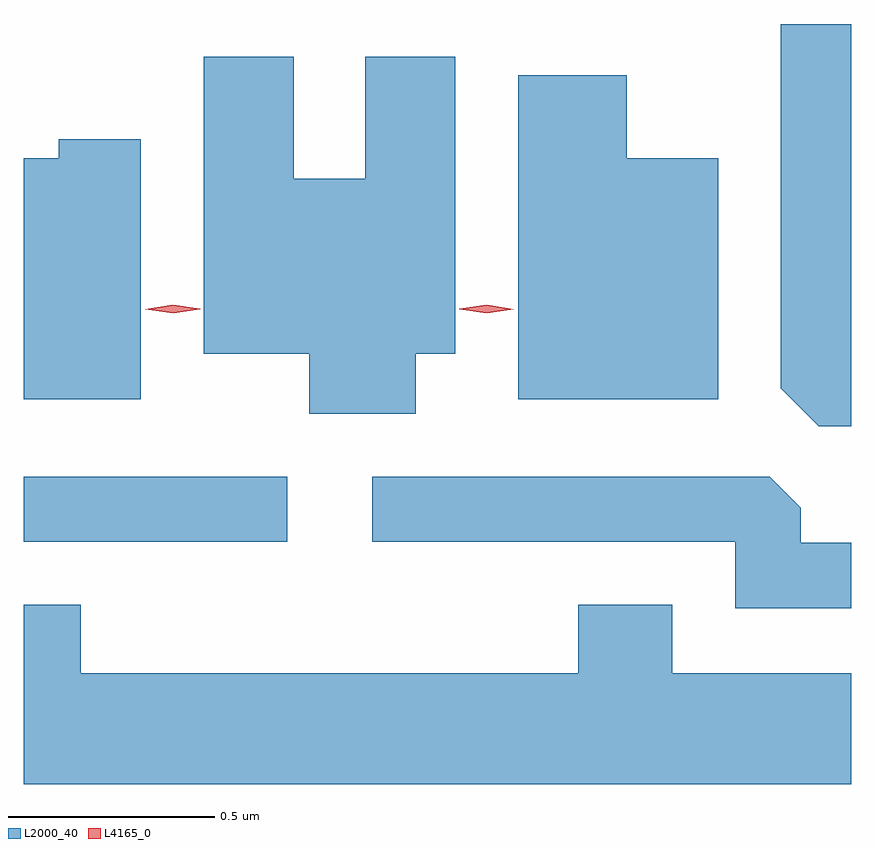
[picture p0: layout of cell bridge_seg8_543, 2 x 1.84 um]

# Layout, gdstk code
import gdstk
lib = gdstk.Library(unit=1e-6, precision=1e-09)
def R(c, l, rs):  # rectangles x0, y0, x1, y1
    for r in rs: c.add(gdstk.rectangle(r[:2], r[2:], *l))
def P(c, l, *ps):  # polygons
    for p in ps: c.add(gdstk.Polygon(p, *l))
L2000_40 = (2000, 40)
L4165_0 = (4165, 0)

bridge_seg8_543 = lib.new_cell('bridge_seg8_543')
R(bridge_seg8_543, L2000_40, [(262.941,1868.081,263.578,1868.239)])
P(bridge_seg8_543, L2000_40, [(264.941,1869.333),(264.771,1869.333),(264.771,1868.452),(264.862,1868.361),(264.941,1868.361)],
  [(263.889,1868.536),(263.984,1868.536),(263.984,1869.254),(263.766,1869.254),(263.766,1868.959),(263.594,1868.959),(263.594,1869.254),(263.376,1869.254),(263.376,1868.536),(263.631,1868.536),(263.631,1868.391),(263.889,1868.391)],
  [(264.619,1869.009),(264.399,1869.009),(264.399,1869.209),(264.136,1869.209),(264.136,1868.426),(264.619,1868.426)],
  [(263.224,1869.054),(263.026,1869.054),(263.026,1869.009),(262.941,1869.009),(262.941,1868.426),(263.224,1868.426)],
  [(264.941,1868.079),(264.819,1868.079),(264.819,1868.164),(264.744,1868.239),(263.783,1868.239),(263.783,1868.081),(264.661,1868.081),(264.661,1867.921),(264.941,1867.921)],
  [(264.941,1867.764),(264.509,1867.764),(264.509,1867.929),(264.281,1867.929),(264.281,1867.764),(263.079,1867.764),(263.079,1867.929),(262.941,1867.929),(262.941,1867.496),(264.941,1867.496)])
P(bridge_seg8_543, L4165_0, [(263.302,1868.634),(263.235,1868.644),(263.234,1868.644),(263.235,1868.644),(263.301,1868.654),(263.368,1868.645),(263.368,1868.644),(263.368,1868.644)],
  [(264.06,1868.634),(263.994,1868.644),(263.994,1868.644),(263.994,1868.645),(264.06,1868.654),(264.125,1868.644),(264.125,1868.644),(264.125,1868.643)])

lib.write_gds('bridge_seg8_543.gds')
